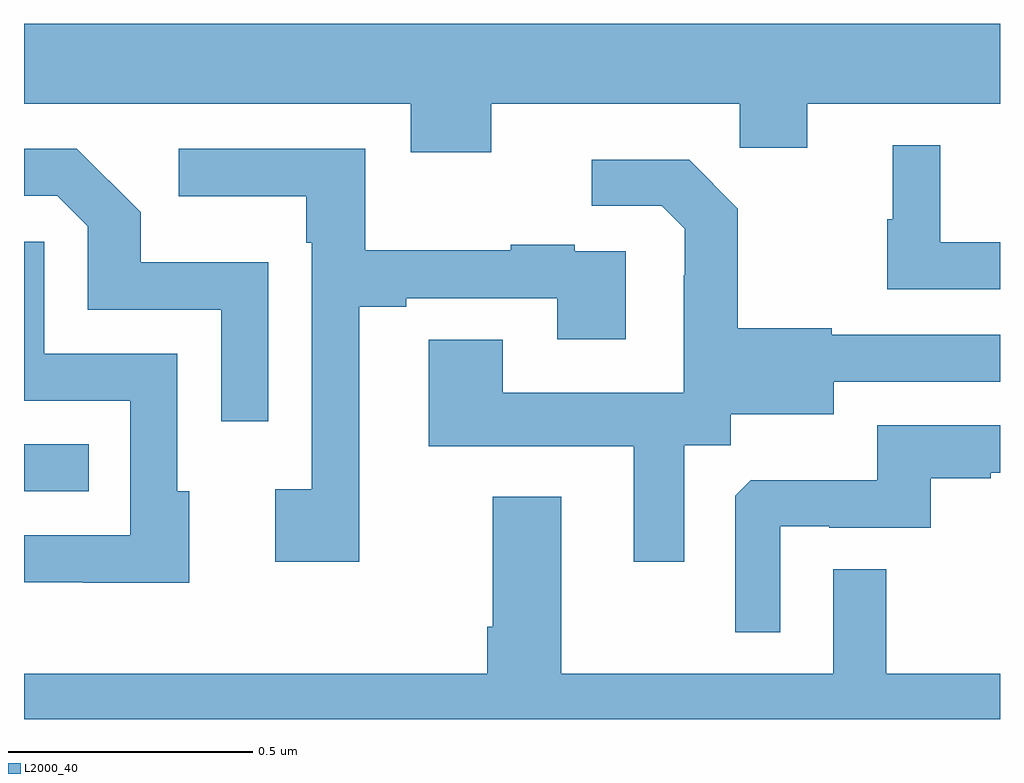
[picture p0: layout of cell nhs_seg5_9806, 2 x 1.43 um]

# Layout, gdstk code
import gdstk
lib = gdstk.Library(unit=1e-6, precision=1e-09)
def R(c, l, rs):  # rectangles x0, y0, x1, y1
    for r in rs: c.add(gdstk.rectangle(r[:2], r[2:], *l))
def P(c, l, *ps):  # polygons
    for p in ps: c.add(gdstk.Polygon(p, *l))
L2000_40 = (2000, 40)

nhs_seg5_9806 = lib.new_cell('nhs_seg5_9806')
R(nhs_seg5_9806, L2000_40, [(238,889.266,238.133,889.362)])
P(nhs_seg5_9806, L2000_40, [(238.957,890.06),(239.467,890.06),(239.467,889.97),(239.605,889.97),(239.605,890.06),(240,890.06),(240,890.224),(238,890.224),(238,890.06),(238.793,890.06),(238.793,889.961),(238.957,889.961)],
  [(240,889.776),(239.878,889.776),(239.878,889.975),(239.78,889.975),(239.78,889.824),(239.769,889.824),(239.769,889.68),(240,889.68)],
  [(238.687,889.644),(238.783,889.644),(238.783,889.662),(239.093,889.662),(239.093,889.578),(239.233,889.578),(239.233,889.758),(239.129,889.758),(239.129,889.771),(238.997,889.771),(238.997,889.76),(238.699,889.76),(238.699,889.968),(238.317,889.968),(238.317,889.871),(238.578,889.871),(238.578,889.775),(238.59,889.775),(238.59,889.27),(238.515,889.27),(238.515,889.122),(238.687,889.122)],
  [(238.5,889.735),(238.239,889.735),(238.239,889.838),(238.108,889.968),(238,889.968),(238,889.872),(238.068,889.872),(238.131,889.809),(238.131,889.638),(238.404,889.638),(238.404,889.41),(238.5,889.41)],
  [(239.353,889.36),(239.448,889.36),(239.448,889.424),(239.659,889.424),(239.659,889.491),(240,889.491),(240,889.587),(239.655,889.587),(239.655,889.6),(239.463,889.6),(239.463,889.845),(239.363,889.945),(239.163,889.945),(239.163,889.851),(239.307,889.851),(239.354,889.804),(239.354,889.709),(239.352,889.709),(239.352,889.468),(238.981,889.468),(238.981,889.577),(238.829,889.577),(238.829,889.358),(239.249,889.358),(239.249,889.122),(239.353,889.122)],
  [(238.339,889.266),(238.314,889.266),(238.314,889.548),(238.041,889.548),(238.041,889.777),(238,889.777),(238,889.452),(238.218,889.452),(238.218,889.176),(238,889.176),(238,889.08),(238.121,889.08),(238.121,889.079),(238.339,889.079)],
  [(239.55,889.194),(239.65,889.194),(239.65,889.191),(239.858,889.191),(239.858,889.293),(239.981,889.293),(239.981,889.304),(240,889.304),(240,889.401),(239.748,889.401),(239.748,889.289),(239.489,889.289),(239.457,889.257),(239.457,888.977),(239.55,888.977)],
  [(240,888.892),(239.767,888.892),(239.767,889.106),(239.658,889.106),(239.658,888.892),(239.101,888.892),(239.101,889.255),(238.961,889.255),(238.961,888.988),(238.949,888.988),(238.949,888.892),(238,888.892),(238,888.799),(240,888.799)])

lib.write_gds('nhs_seg5_9806.gds')
